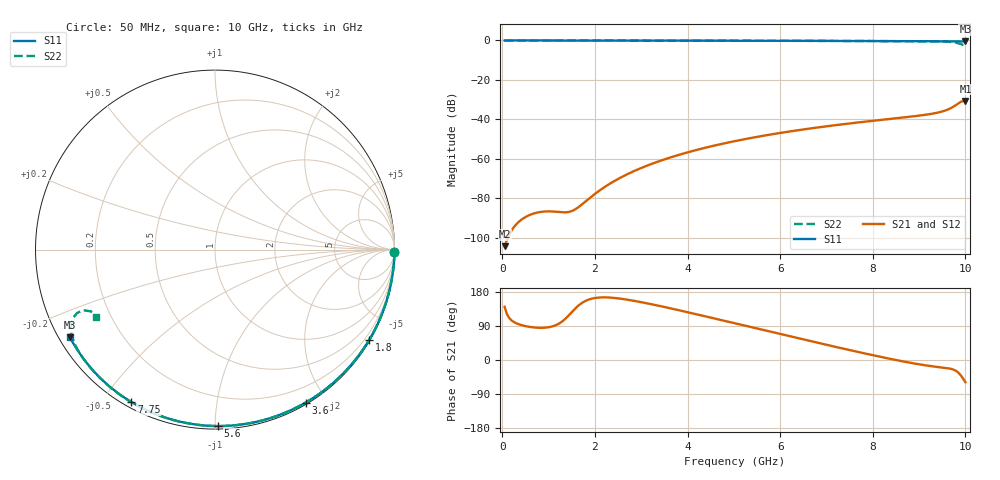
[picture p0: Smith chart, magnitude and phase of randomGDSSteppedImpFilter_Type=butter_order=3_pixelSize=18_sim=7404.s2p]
! freq	dB(S11)	phase(S11)	dB(S12)	phase(S12)
!  dB(S21)	phase(S21)	dB(S22)	phase(S22)
!S-par simulation data
#  GHz  S  DB  R 50
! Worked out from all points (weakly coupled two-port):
!   200 points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, 50 MHz to 10 GHz, reference 50 ohm
!   highest |S21| = -30.70 dB at 10 GHz (marker M1); lowest = -104.3 dB at 50 MHz (marker M2)
!   lowest |S11| = -0.5 dB at 10 GHz (marker M3), VSWR 35.36, Z = 1.52 - j13.9 ohm
!   |S11| at or under -10 dB: nowhere
!   |S22| runs from -2.4 to 0.0 dB; largest |S21 - S12| = 0
!   S11 on the Smith chart (normalised r, x): 50 MHz: open; 1.8 GHz: 0.03, -3.68; 3.6 GHz: 0.02, -1.76; 5.6 GHz: 0.02, -1.02; 7.75 GHz: 0.02, -0.59; 10 GHz: 0.03, -0.28
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0.05  -0.00 -0.9  -104.32 140.5  -104.32 140.5  -0.00 -0.9
0.9  -0.02 -15.4  -86.76 85.1  -86.76 85.1  -0.02 -15.5
1.75  -0.04 -29.6  -82.57 152.9  -82.57 152.9  -0.04 -29.9
1.8  -0.04 -30.4  -81.60 156.1  -81.60 156.1  -0.04 -30.7
1.9  -0.04 -32.1  -79.68 160.9  -79.68 160.9  -0.04 -32.4
2.25  -0.05 -37.8  -73.71 165.2  -73.71 165.2  -0.05 -38.2
2.65  -0.06 -44.3  -68.40 160.1  -68.40 160.1  -0.06 -44.8
3  -0.07 -49.9  -64.67 152.6  -64.67 152.6  -0.07 -50.4
3.4  -0.07 -56.2  -61.12 142.5  -61.12 142.5  -0.08 -56.8
3.6  -0.08 -59.3  -59.55 137.2  -59.55 137.2  -0.08 -60.0
4.3  -0.10 -70.0  -54.89 117.6  -54.89 117.6  -0.10 -70.8
5.05  -0.12 -81.2  -50.91 96.0  -50.91 96.0  -0.13 -82.1
5.6  -0.15 -89.1  -48.48 80.0  -48.48 80.0  -0.15 -90.2
6.7  -0.20 -104.5  -44.47 48.4  -44.47 48.4  -0.21 -105.9
7.75  -0.28 -118.8  -41.41 19.4  -41.41 19.4  -0.28 -120.5
8.35  -0.33 -126.8  -39.86 3.7  -39.86 3.7  -0.33 -128.9
9.25  -0.42 -138.8  -37.28 -16.1  -37.28 -16.1  -0.45 -142.5
9.5  -0.44 -142.1  -36.01 -19.8  -36.01 -19.8  -0.55 -147.1
9.65  -0.46 -144.1  -34.73 -22.4  -34.73 -22.4  -0.70 -150.4
9.8  -0.47 -146.1  -32.70 -28.8  -32.70 -28.8  -1.14 -154.3
9.9  -0.48 -147.5  -31.16 -40.3  -31.16 -40.3  -1.86 -155.3
10  -0.49 -148.8  -30.70 -58.5  -30.70 -58.5  -2.36 -150.5
